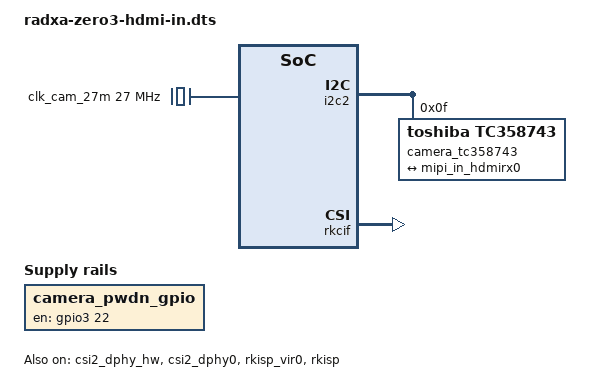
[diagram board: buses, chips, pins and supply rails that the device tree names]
/dts-v1/;
/plugin/;


/ {

	fragment@0 {
		target-path = "/";

		__overlay__ {
			clk_cam_27m: external-camera-clock-27m {
				status = "okay";
				compatible = "fixed-clock";
				clock-frequency = <27000000>;
				clock-output-names = "clk_cam_27mhz";
				#clock-cells = <0>;
			};

			camera_pwdn_gpio: camera-pwdn-gpio {
				status = "okay";
				compatible = "regulator-fixed";
				regulator-name = "camera_pwdn_gpio";
				regulator-always-on;
				regulator-boot-on;
				enable-active-high;
				gpio = <&gpio3 22 0>;
			};
		};
	};

	fragment@1 {
		target = <&i2c2>;

		__overlay__ {
			status = "okay";
			pinctrl-names = "default";
			pinctrl-0 = <&i2c2m1_xfer>;
			#address-cells = <1>;
			#size-cells = <0>;

			camera_tc358743: tc358743@f {
				status = "okay";
				compatible = "toshiba,tc358743";
				reg = <0x0f>;
				clocks = <&clk_cam_27m>;
				clock-names = "refclk";
				rockchip,camera-module-index = <0>;
				rockchip,camera-module-facing = "back";
				rockchip,camera-module-name = "tc358743";
				rockchip,camera-module-lens-name = "default";

				port {
					hdmi_rx_out: endpoint {
						remote-endpoint = <&mipi_in_hdmirx0>;
						clock-lanes = <0>;
						clock-noncontinuous;
						link-frequencies = /bits/ 64 <297000000>;
						data-lanes = <1 2 3 4>;
					};
				};
			};
		};
	};

	fragment@2 {
		target = <&csi2_dphy_hw>;

		__overlay__ {
			status = "okay";
		};
	};

	fragment@3 {
		target = <&csi2_dphy0>;

		__overlay__ {
			status = "okay";

			ports {
				#address-cells = <1>;
				#size-cells = <0>;

				port@0 {
					reg = <0>;
					#address-cells = <1>;
					#size-cells = <0>;

					mipi_in_hdmirx0: endpoint@1 {
						reg = <1>;
						remote-endpoint = <&hdmi_rx_out>;
						data-lanes = <1 2 3 4>;
					};
				};

				port@1 {
					reg = <1>;
					#address-cells = <1>;
					#size-cells = <0>;

					mipi_out_dphy0: endpoint@1 {
						reg = <1>;
						remote-endpoint = <&rkisp_mipi_in>;
						data-lanes = <1 2 3 4>;
					};
				};
			};
		};
	};
	
	fragment@4 {
		target = <&rkisp_vir0>;

		__overlay__ {
			status = "okay";

			port {
				#address-cells = <1>;
				#size-cells = <0>;

				rkisp_mipi_in: endpoint@0 {
					reg = <0>;
					remote-endpoint = <&mipi_out_dphy0>;
				};
			};
		};
	};

	fragment@5 {
		target = <&rkisp>;

		__overlay__ {
			status = "okay";
		};
	};

	fragment@6 {
		target = <&rkisp_mmu>;

		__overlay__ {
			status = "okay";
		};
	};

	fragment@7 {
		target = <&rkcif_mmu>;

		__overlay__ {
			status = "okay";
		};
	};

	fragment@8 {
		target = <&rkcif>;

		__overlay__ {
			status = "okay";
		};
	};
};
